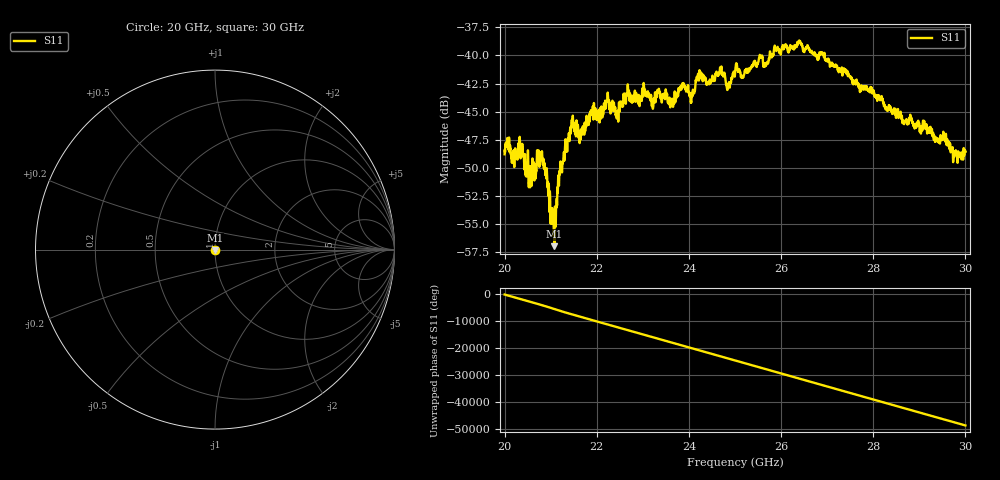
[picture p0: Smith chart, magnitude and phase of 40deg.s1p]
#  HZ  S  RI  R  50.00
! Rohde & Schwarz ZVA40 4Ports - Version 3.90 - 1145.1110k42 SN: 100403
! Date: 2023-10-03 11:53:24
! Measurement: S12
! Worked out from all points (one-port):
!   5001 points, 20 GHz to 30 GHz, reference 50 ohm
!   lowest |S11| = -57.0 dB at 21.08 GHz (marker M1), VSWR 1.00, Z = 50 - j0.141 ohm
!   |S11| at or under -10 dB: start of sweep to end of sweep
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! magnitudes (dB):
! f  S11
! 20 GHz  -48.8
! 20.19 GHz  -48.6
! 20.34 GHz  -48.6
! 20.56 GHz  -50.6
! 20.81 GHz  -48.7
! 20.91 GHz  -50.1
! 21.04 GHz  -54.0
! 21.08 GHz  -57.0
! 21.25 GHz  -49.9
! 21.47 GHz  -46.4
! 21.65 GHz  -47.5
! 22.22 GHz  -44.1
! 22.5 GHz  -44.2
! 22.65 GHz  -43.5
! 23.75 GHz  -43.4
! 23.88 GHz  -42.5
! 24.06 GHz  -43.4
! 24.21 GHz  -42.2
! 24.42 GHz  -42.5
! 24.69 GHz  -41.1
! 24.86 GHz  -42.5
! 25 GHz  -41.6
! 25.17 GHz  -41.9
! 26.25 GHz  -39.4
! 26.9 GHz  -39.8
! 27.5 GHz  -42.0
! 28.75 GHz  -45.9
! 30 GHz  -48.6
